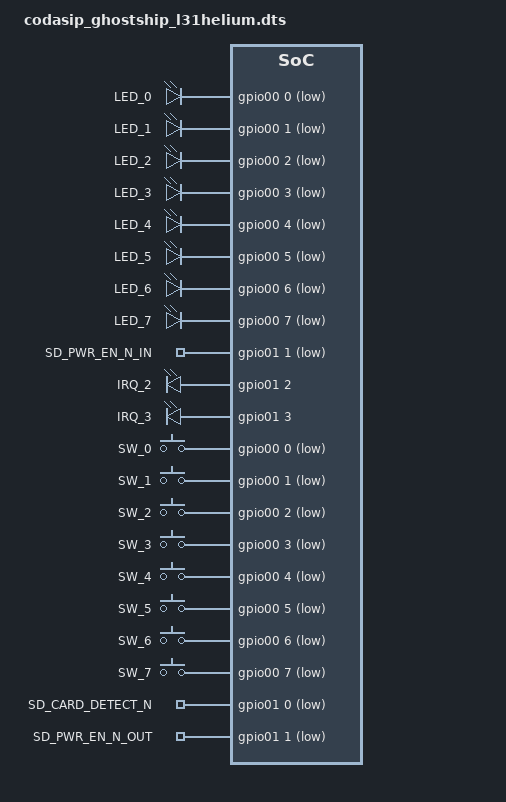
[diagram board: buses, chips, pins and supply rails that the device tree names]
/*
 * Copyright (c) 2023 Codasip s.r.o.
 *
 * SPDX-License-Identifier: Apache-2.0
 */

/* See: https://docs.zephyrproject.org/latest/hardware/porting/board_porting.html */

/dts-v1/;

#include <codasip/l31helium.dtsi>
#include <codasip/ghostship.dtsi>
#include <zephyr/devicetree/gpio.h>

/ {
        compatible = "codasip,ghostship-l31helium";

        aliases {
                led0 = &led0;
                led1 = &led1;
                led2 = &led2;
                led3 = &led3;
                led4 = &led4;
                led5 = &led5;
                led6 = &led6;
                led7 = &led7;

                sd-pwr-en-n-out  = &sd_pwr_en_n_out;
                irq2 = &irq2;
                irq3 = &irq3;

                sw0 = &sw0;
                sw1 = &sw1;
                sw2 = &sw2;
                sw3 = &sw3;
                sw4 = &sw4;
                sw5 = &sw5;
                sw6 = &sw6;
                sw7 = &sw7;

                sd-card-detect-n = &sd_card_detect_n;
                sd-pwr-en-n-in = &sd_pwr_en_n_in;
        };

        chosen {
                zephyr,console = &uart0;
                zephyr,shell-uart = &uart0;
                zephyr,sram = &sram0;
        };

        leds {
        /* GPI0O = SWITCH/LED */
                compatible = "gpio-leds";
                led0: led0 {
                        gpios = <&gpio00 0 GPIO_ACTIVE_LOW>;
                        label = "LED_0";
                };
                led1: led1 {
                        gpios = <&gpio00 1 GPIO_ACTIVE_LOW>;
                        label = "LED_1";
                };
                led2: led2 {
                        gpios = <&gpio00 2 GPIO_ACTIVE_LOW>;
                        label = "LED_2";
                };
                led3: led3 {
                        gpios = <&gpio00 3 GPIO_ACTIVE_LOW>;
                        label = "LED_3";
                };
                led4: led4 {
                        gpios = <&gpio00 4 GPIO_ACTIVE_LOW>;
                        label = "LED_4";
                };
                led5: led5 {
                        gpios = <&gpio00 5 GPIO_ACTIVE_LOW>;
                        label = "LED_5";
                };
                led6: led6 {
                        gpios = <&gpio00 6 GPIO_ACTIVE_LOW>;
                        label = "LED_6";
                };
                led7: led7 {
                        gpios = <&gpio00 7 GPIO_ACTIVE_LOW>;
                        label = "LED_7";
                };

        /* GPIO1 - AUX */
        sd_pwr_en_n_in: sd_pwr_en_n_in {
                        gpios = <&gpio01 1 GPIO_ACTIVE_LOW>;
                        label = "SD_PWR_EN_N_IN";   
                };
        irq2: irq2 {
                        gpios = <&gpio01 2 GPIO_ACTIVE_HIGH>;   /* This output connects to PIC interrupt input port 2 */
                        label = "IRQ_2";    
                };
        irq3: irq3 {
                        gpios = <&gpio01 3 GPIO_ACTIVE_HIGH>;   /* This output connects to PIC interrupt input port 3 */
                        label = "IRQ_3";    
                };
        };

        keys {
        /* GPIO = SWITCH/LED */
                compatible = "gpio-keys";
                sw0: sw0 {
                        gpios = <&gpio00 0 GPIO_ACTIVE_LOW>;
                        label = "SW_0";
                };
                sw1: sw1 {
                        gpios = <&gpio00 1 GPIO_ACTIVE_LOW>;
                        label = "SW_1";
                };
                sw2: sw2 {
                        gpios = <&gpio00 2 GPIO_ACTIVE_LOW>;
                        label = "SW_2";
                };
                sw3: sw3 {
                        gpios = <&gpio00 3 GPIO_ACTIVE_LOW>;
                        label = "SW_3";
                };
                sw4: sw4 {
                        gpios = <&gpio00 4 GPIO_ACTIVE_LOW>;
                        label = "SW_4";
                };
                sw5: sw5 {
                        gpios = <&gpio00 5 GPIO_ACTIVE_LOW>;
                        label = "SW_5";
                };
                sw6: sw6 {
                        gpios = <&gpio00 6 GPIO_ACTIVE_LOW>;
                        label = "SW_6";
                };
                sw7: sw7 {
                        gpios = <&gpio00 7 GPIO_ACTIVE_LOW>;
                        label = "SW_7";
                };

        /* GPIO - AUX */
                sd_card_detect_n: sd_card_detect_n {
                        gpios = <&gpio01 0 GPIO_ACTIVE_LOW>;
                        label = "SD_CARD_DETECT_N";
                };
                sd_pwr_en_n_out: sd_pwr_en_n_out {
                        gpios = <&gpio01 1 GPIO_ACTIVE_LOW>;
                        label = "SD_PWR_EN_N_OUT";
                };
        };
};

&gpio00 {
    status = "okay";
};

&gpio01 {
    status = "okay";
};

/*
&uart0 {
    status = "okay";
    current-speed = <115200>;
};

&timer0 {
    status = "okay";
};

&eth0 {
    status = "okay";
};

&dna0 {
    status = "okay";
};

&spi0 {
    status = "okay";
};

&prbs0 {
    status = "okay";
};

&i2c0 {
    status = "okay";
};

&pwm0 {
    status = "okay";
};

&gpio_out {
    status = "okay";
};

&gpio_in {
    status = "okay";
};

&i2s_rx {
    status = "okay";
};

&i2s_tx {
    status = "okay";
};

&clk0 {
    status = "okay";
};

&clk1 {
    status = "okay";
};

&clock0 {
    status = "okay";
};
*/

